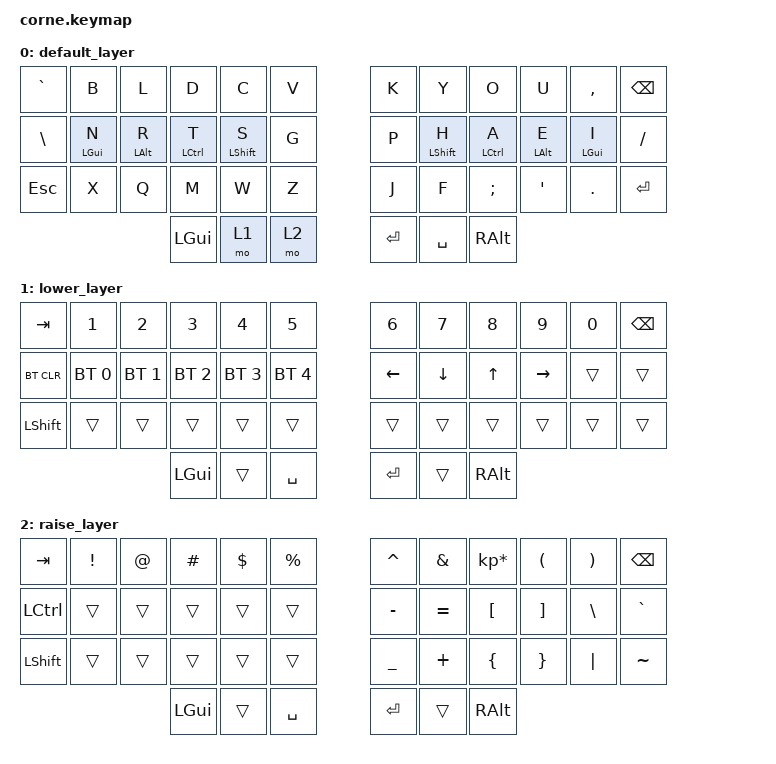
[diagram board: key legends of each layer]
/*
 * Copyright (c) 2020 The ZMK Contributors
 *
 * SPDX-License-Identifier: MIT
 */

#include <behaviors.dtsi>
#include <dt-bindings/zmk/keys.h>
#include <dt-bindings/zmk/bt.h>

/ {
        keymap {
                compatible = "zmk,keymap";

                default_layer {
// -----------------------------------------------------------------------------------------
// |  TAB |  B  |  L  |  D  |  C  |  V  |   |  Y  |  U   |  I  |  O  |  P  | BKSP |
// | CTRL |  N  |  R  |  D  |  F  |  G  |   |  H  |  J   |  K  |  L  |  ;  |  '   |
// | SHFT |  X  |  Q  |  C  |  V  |  B  |   |  N  |  M   |  ,  |  .  |  /  | ESC  |
//                    | GUI | LWR | SPC |   | ENT | RSE  | ALT |
                        bindings = <
   &kp GRAVE   &kp B &kp L &kp D &kp C &kp V   &kp K &kp Y  &kp O     &kp U   &kp COMMA    &kp BSPC
&kp BSLH
&mt LGUI  N
&mt LALT  R
&mt LCTRL T
&mt LSHFT S
&kp G
&kp P
&mt LSHFT H
&mt LCTRL A
&mt LALT  E
&mt LGUI  I
&kp FSLH   &kp ESC &kp X &kp Q &kp M &kp W &kp Z   &kp J &kp F  &kp SEMI &kp SQT &kp DOT &kp RET
                  &kp LGUI &mo 1 &mo 2   &kp RET &kp SPACE &kp RALT
                        >;
                };
                lower_layer {
// -----------------------------------------------------------------------------------------
// |  TAB |  1  |  2  |  3  |  4  |  5  |   |  6  |  7  |  8  |  9  |  0  | BKSP |
// | BTCLR| BT1 | BT2 | BT3 | BT4 | BT5 |   | LFT | DWN |  UP | RGT |     |      |
// | SHFT |     |     |     |     |     |   |     |     |     |     |     |      |
//                    | GUI |     | SPC |   | ENT |     | ALT |
                        bindings = <
   &kp TAB    &kp N1       &kp N2       &kp N3       &kp N4       &kp N5         &kp N6   &kp N7   &kp N8 &kp N9    &kp N0 &kp BSPC
   &bt BT_CLR &bt BT_SEL 0 &bt BT_SEL 1 &bt BT_SEL 2 &bt BT_SEL 3 &bt BT_SEL 4   &kp LEFT &kp DOWN &kp UP &kp RIGHT &trans &trans
   &kp LSHFT  &trans       &trans       &trans       &trans       &trans         &trans   &trans   &trans &trans    &trans &trans
                          	        &kp LGUI     &trans       &kp SPACE      &kp RET  &trans   &kp RALT
                        >;
                };

                raise_layer {
// -----------------------------------------------------------------------------------------
// |  TAB |  !  |  @  |  #  |  $  |  %  |   |  ^  |  &  |  *  |  (  |  )  | BKSP |
// | CTRL |     |     |     |     |     |   |  -  |  =  |  [  |  ]  |  \  |  `   |
// | SHFT |     |     |     |     |     |   |  _  |  +  |  {  |  }  | "|" |  ~   |
//                    | GUI |     | SPC |   | ENT |     | ALT |
                        bindings = <
   &kp  TAB  &kp EXCL &kp AT &kp HASH &kp DLLR &kp PRCNT   &kp CARET &kp AMPS  &kp KP_MULTIPLY &kp LPAR &kp RPAR &kp BSPC
   &kp LCTRL &trans   &trans &trans   &trans   &trans      &kp MINUS &kp EQUAL &kp LBKT        &kp RBKT &kp BSLH &kp GRAVE
   &kp LSHFT &trans   &trans &trans   &trans   &trans      &kp UNDER &kp PLUS  &kp LBRC        &kp RBRC &kp PIPE &kp TILDE
                    	     &kp LGUI &trans   &kp SPACE   &kp RET   &trans    &kp RALT
                        >;
                };
        };
};
